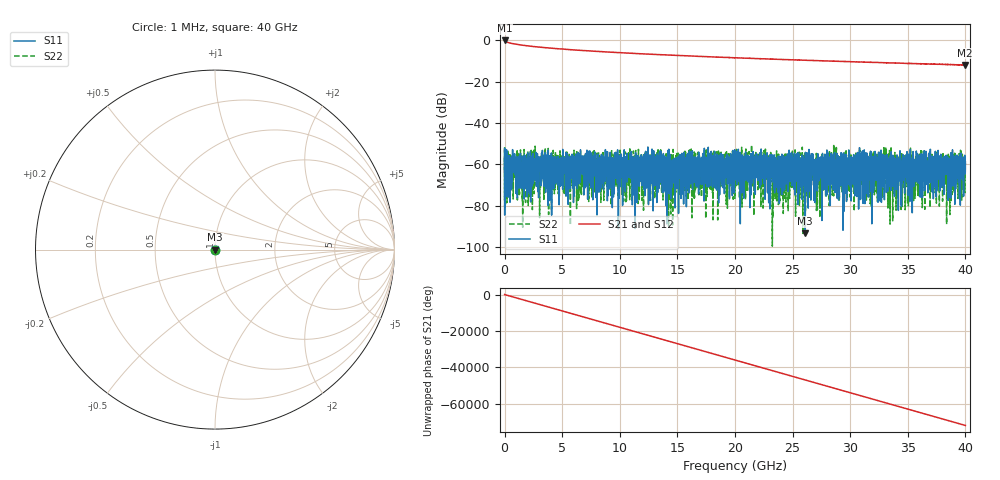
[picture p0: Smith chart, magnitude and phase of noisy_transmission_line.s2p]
! Synthetic matched dispersive cable, not measured data.
! H(s)=A0*exp(-s*tau-k*sqrt(s)); principal square root.
! tau=5 ns; A0=10^(-0.1/20); k=(11.9*ln(10)/20)/sqrt(pi*40e9).
! Loss=0.1+11.9*sqrt(f/40e9) dB; includes associated phase lag.
! Z0=50 ohm; no dielectric loss or impedance variation.
! 4201 points: geomspace(1e6,1e9,301) plus linspace(1e9,40e9,3901), unique.
! Complex Gaussian noise RMS=0.001 per independent entry; S12=S21; seed=2026.
! Hold out zero-based frequency indices divisible by 5.
! Generator: examples/electrical/time_delay.ipynb, noisy-cable section.
# Hz S RI R 50
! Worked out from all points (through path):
!   4201 points, 1 MHz to 40 GHz, reference 50 ohm
!   highest |S21| = -0.15 dB at 1.445 MHz (marker M1); lowest = -12.0 dB at 39.99 GHz (marker M2)
!   lowest |S11| = -93.2 dB at 26.1 GHz (marker M3), VSWR 1.00, Z = 50 - j0.00216 ohm
!   |S11| at or under -10 dB: start of sweep to end of sweep
!   |S22| runs from -99.5 to -50.6 dB; largest |S21 - S12| = 0
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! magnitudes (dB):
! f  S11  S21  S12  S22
! 1 MHz  -63.9  -0.2  -0.2  -57.3
! 1.445 MHz  -52.2  -0.2  -0.2  -58.7
! 1.96 GHz  -64.9  -2.7  -2.7  -55.1
! 3.19 GHz  -61.3  -3.5  -3.5  -69.5
! 4.8 GHz  -57.6  -4.2  -4.2  -59.5
! 6.67 GHz  -59.6  -5.0  -5.0  -74.5
! 13.34 GHz  -58.8  -7.0  -7.0  -59.3
! 16 GHz  -61.9  -7.6  -7.6  -57.0
! 16.44 GHz  -60.8  -7.7  -7.7  -60.9
! 16.87 GHz  -69.2  -7.8  -7.8  -74.7
! 20.01 GHz  -64.9  -8.5  -8.5  -64.4
! 22.37 GHz  -58.2  -9.0  -9.0  -65.9
! 22.82 GHz  -64.8  -9.1  -9.1  -66.3
! 23.41 GHz  -72.0  -9.2  -9.2  -71.8
! 24.52 GHz  -57.9  -9.4  -9.4  -57.7
! 26.1 GHz  -93.2  -9.7  -9.7  -55.9
! 26.67 GHz  -65.0  -9.8  -9.8  -58.9
! 33.34 GHz  -60.5  -11.0  -11.0  -61.0
! 38.13 GHz  -66.9  -11.7  -11.7  -56.2
! 38.74 GHz  -63.9  -11.8  -11.8  -60.0
! 39.99 GHz  -63.8  -12.0  -12.0  -60.8
! 40 GHz  -58.9  -12.0  -12.0  -59.6
